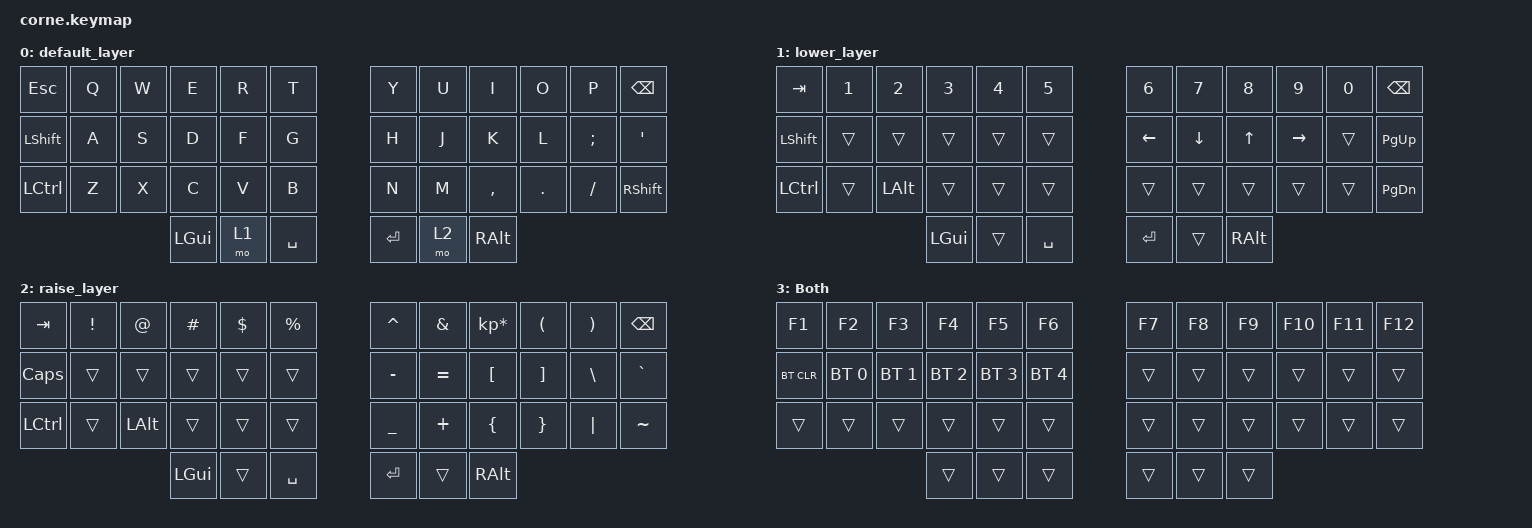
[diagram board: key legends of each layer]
/*
 * Copyright (c) 2020 The ZMK Contributors
 *
 * SPDX-License-Identifier: MIT
 */

#include <behaviors.dtsi>
#include <dt-bindings/zmk/bt.h>
#include <dt-bindings/zmk/keys.h>

/ {
    keymap {
        compatible = "zmk,keymap";

        default_layer {
            // -----------------------------------------------------------------------------------------
            // |  TAB |  Q  |  W  |  E  |  R  |  T  |   |  Y  |  U   |  I  |  O  |  P  | BKSP |
            // | CTRL |  A  |  S  |  D  |  F  |  G  |   |  H  |  J   |  K  |  L  |  ;  |  '   |
            // | SHFT |  Z  |  X  |  C  |  V  |  B  |   |  N  |  M   |  ,  |  .  |  /  | ESC  |
            //                    | GUI | LWR | SPC |   | ENT | RSE  | ALT |

            bindings = <
&kp ESCAPE  &kp Q  &kp W  &kp E     &kp R  &kp T        &kp Y    &kp U  &kp I      &kp O    &kp P     &kp BSPC
&kp LSHIFT  &kp A  &kp S  &kp D     &kp F  &kp G        &kp H    &kp J  &kp K      &kp L    &kp SEMI  &kp SQT
&kp LCTRL   &kp Z  &kp X  &kp C     &kp V  &kp B        &kp N    &kp M  &kp COMMA  &kp DOT  &kp FSLH  &kp RSHIFT
                          &kp LGUI  &mo 1  &kp SPACE    &kp RET  &mo 2  &kp RALT
            >;
        };

        lower_layer {
            // -----------------------------------------------------------------------------------------
            // |  TAB |  1  |  2  |  3  |  4  |  5  |   |  6  |  7  |  8  |  9  |  0  | BKSP |
            // | BTCLR| BT1 | BT2 | BT3 | BT4 | BT5 |   | LFT | DWN |  UP | RGT |     |      |
            // | SHFT |     |     |     |     |     |   |     |     |     |     |     |      |
            //                    | GUI |     | SPC |   | ENT |     | ALT |

            bindings = <
&kp TAB    &kp N1  &kp N2    &kp N3    &kp N4  &kp N5       &kp N6    &kp N7    &kp N8    &kp N9     &kp N0  &kp BSPC
&kp LSHFT  &trans  &trans    &trans    &trans  &trans       &kp LEFT  &kp DOWN  &kp UP    &kp RIGHT  &trans  &kp PAGE_UP
&kp LCTRL  &trans  &kp LALT  &trans    &trans  &trans       &trans    &trans    &trans    &trans     &trans  &kp PAGE_DOWN
                             &kp LGUI  &trans  &kp SPACE    &kp RET   &trans    &kp RALT
            >;
        };

        raise_layer {
            // -----------------------------------------------------------------------------------------
            // |  TAB |  !  |  @  |  #  |  $  |  %  |   |  ^  |  &  |  *  |  (  |  )  | BKSP |
            // | CTRL |     |     |     |     |     |   |  -  |  =  |  [  |  ]  |  \  |  `   |
            // | SHFT |     |     |     |     |     |   |  _  |  +  |  {  |  }  | "|" |  ~   |
            //                    | GUI |     | SPC |   | ENT |     | ALT |

            bindings = <
&kp TAB    &kp EXCL  &kp AT    &kp HASH  &kp DLLR  &kp PRCNT    &kp CARET  &kp AMPS   &kp KP_MULTIPLY  &kp LPAR  &kp RPAR  &kp BSPC
&kp CLCK   &trans    &trans    &trans    &trans    &trans       &kp MINUS  &kp EQUAL  &kp LBKT         &kp RBKT  &kp BSLH  &kp GRAVE
&kp LCTRL  &trans    &kp LALT  &trans    &trans    &trans       &kp UNDER  &kp PLUS   &kp LBRC         &kp RBRC  &kp PIPE  &kp TILDE
                               &kp LGUI  &trans    &kp SPACE    &kp RET    &trans     &kp RALT
            >;
        };

        Both {
            bindings = <
&kp F1      &kp F2        &kp F3        &kp F4        &kp F5        &kp F6          &kp F7  &kp F8  &kp F9  &kp F10  &kp F11  &kp F12
&bt BT_CLR  &bt BT_SEL 0  &bt BT_SEL 1  &bt BT_SEL 2  &bt BT_SEL 3  &bt BT_SEL 4    &trans  &trans  &trans  &trans   &trans   &trans
&trans      &trans        &trans        &trans        &trans        &trans          &trans  &trans  &trans  &trans   &trans   &trans
                                        &trans        &trans        &trans          &trans  &trans  &trans
            >;
        };
    };

    conditional_layers {
        compatible = "zmk,conditional-layers";

        tri-layer {
            if-layers = <1 2>;
            then-layer = <3>;
        };
    };
};
